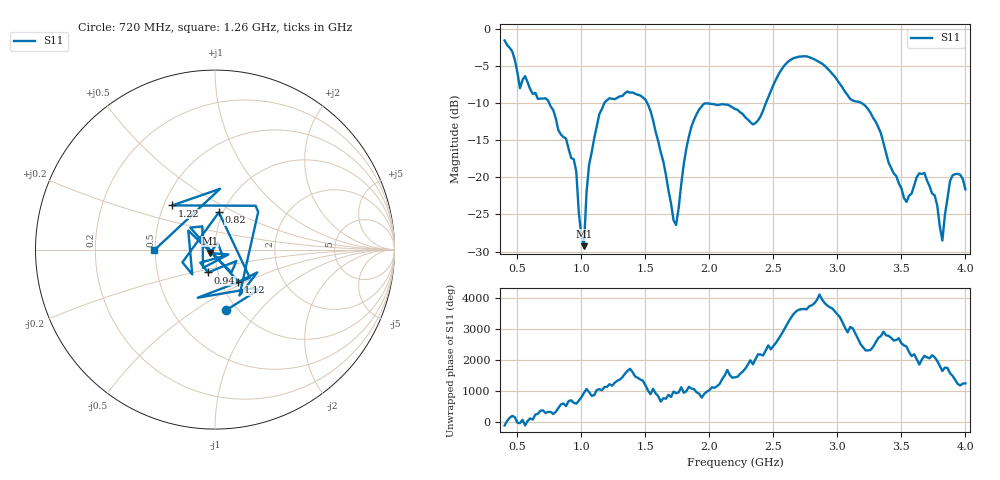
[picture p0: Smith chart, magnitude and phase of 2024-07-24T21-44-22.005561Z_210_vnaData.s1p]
!Created with skrf (http://scikit-rf.org).
# Hz S RI R 50.0
!freq ReS11 ImS11
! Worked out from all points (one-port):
!   181 points, 400 MHz to 4 GHz, reference 50 ohm
!   lowest |S11| = -29.3 dB at 1.02 GHz (marker M1), VSWR 1.07, Z = 47.2 - j1.82 ohm
!   |S11| at or under -10 dB: 1.515 GHz to 1.97 GHz (455 MHz wide, 26.1 % of centre); 1.985 GHz to 2.44 GHz (455.3 MHz wide, 20.6 % of centre); 3.194 GHz to end of sweep (the widest 3 of 4)
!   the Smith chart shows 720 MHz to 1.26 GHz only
!   S11 on the Smith chart (normalised r, x): 720 MHz: 0.89, -0.68; 820 MHz: 0.96, +0.41; 940 MHz: 0.90, -0.23; 1.12 GHz: 1.21, -0.46; 1.22 GHz: 0.55, +0.31; 1.26 GHz: 0.50, -0.00
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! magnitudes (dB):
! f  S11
! 400 MHz  -1.5
! 520 MHz  -7.9
! 720 MHz  -9.3
! 820 MHz  -13.6
! 860 MHz  -14.5
! 940 MHz  -17.5
! 1.02 GHz  -29.3
! 1.06 GHz  -18.3
! 1.12 GHz  -13.1
! 1.22 GHz  -9.3
! 1.26 GHz  -9.4
! 1.3 GHz  -9.0
! 1.5 GHz  -9.5
! 1.72 GHz  -25.8
! 1.76 GHz  -24.1
! 1.82 GHz  -16.1
! 1.92 GHz  -10.8
! 2.2 GHz  -10.7
! 2.36 GHz  -12.7
! 2.66 GHz  -3.9
! 3.1 GHz  -9.4
! 3.26 GHz  -11.3
! 3.56 GHz  -22.5
! 3.68 GHz  -19.4
! 3.76 GHz  -22.4
! 3.82 GHz  -28.5
! 3.9 GHz  -19.7
! 4 GHz  -21.6
